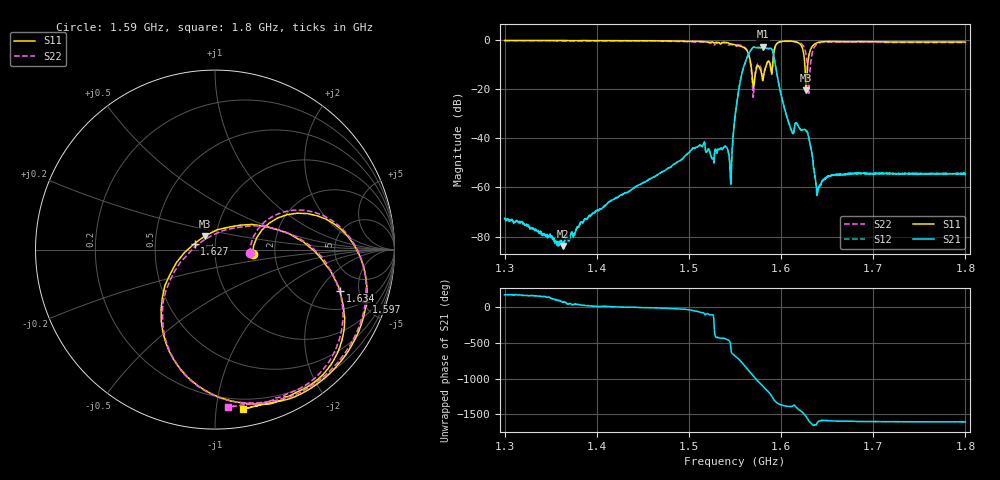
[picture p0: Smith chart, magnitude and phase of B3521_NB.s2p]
! S-Parameter for B3521 in Touchstone format with Magnitude (lin) and Phase
! Normalised impedance: 50 Ohm. Measurement system: 50 Ohm. Ta=25°C
! B3521_SB.S2P not matched. Measurement full 2-port calibrated incl. Port.Ext.
! Start: 1.3GHz, Stop: 1.8GHz, Span 500MHz 801 Pts., Step 312kHz.
! Date: 21/03/07 - EPCOS SAW COM WT AE PD; AB
# MHZ S MA R 50
! freq  magS11 angS11  magS21 angS21  magS12 angS12  magS22 angS22
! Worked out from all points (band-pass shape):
!   1601 points, 1.3 GHz to 1.8 GHz, reference 50 ohm
!   highest |S21| = -2.87 dB at 1.58 GHz (marker M1); lowest = -83.9 dB at 1.363 GHz (marker M2)
!   |S21| within 3 dB of the highest: 1.565 GHz to 1.592 GHz (27.14 MHz wide, 1.72 % of centre)
!   lowest |S11| = -20.5 dB at 1.627 GHz (marker M3), VSWR 1.21, Z = 44.1 + j6.65 ohm
!   |S11| at or under -10 dB: 1.567 GHz to 1.584 GHz (17 MHz wide, 1.08 % of centre); 1.588087 GHz to 1.590837 GHz (2.75 MHz wide, 0.173 % of centre); 1.625764 GHz to 1.628898 GHz (3.135 MHz wide, 0.193 % of centre)
!   |S22| runs from -23.4 to -0.4 dB; largest |S21 - S12| = 0.0021
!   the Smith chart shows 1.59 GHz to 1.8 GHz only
!   S11 on the Smith chart (normalised r, x): 1.59 GHz: 1.53, -0.07; 1.597 GHz: 1.88, -5.34; 1.627 GHz: 0.79, +0.05; 1.634 GHz: 3.18, -3.17; 1.8 GHz: 0.12, -1.18
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1300  0.9677 -74.9  0.000237 170.6  0.0002323 169.6  0.9564 -80.5
1363.438  0.9644 -80.4  6.411e-05 74.6  6.741e-05 68.7  0.953 -86.6
1383.438  0.9637 -82.5  0.0001962 25.5  0.0001985 24.8  0.9503 -88.9
1466.875  0.9496 -96.0  0.001859 -14.4  0.001844 -14.5  0.9332 -104.3
1517.812  0.9066 -120.2  0.00618 -109.0  0.006168 -108.9  0.8892 -132.5
1544.688  0.8265 -178.1  0.00233 -130.5  0.002336 -130.2  0.7956 163.3
1550  0.7929 143.9  0.02742 35.3  0.02734 35.3  0.8011 125.6
1559.688  0.6921 9.3  0.2898 -89.4  0.2895 -89.4  0.7189 9.1
1566.562  0.3727 -79.7  0.5892 168.2  0.5872 168.2  0.3479 -77.0
1571.875  0.1902 -22.1  0.6995 84.8  0.6986 84.7  0.2032 -1.4
1580  0.1478 -34.9  0.7188 -21.9  0.7176 -21.9  0.1806 -33.8
1585.312  0.3543 -13.6  0.6653 -92.1  0.6639 -92.2  0.3486 -13.4
1589.688  0.2107 -6.0  0.659 -162.7  0.6578 -162.7  0.197 -6.2
1597.5  0.8919 -19.0  0.1272 85.9  0.1265 85.6  0.8822 -17.8
1618.125  0.8783 -77.7  0.01845 17.2  0.0183 17.3  0.8879 -74.0
1626.875  0.1186 163.5  0.0143 -87.0  0.01424 -86.9  0.5268 -123.2
1627.188  0.0946 127.8  0.01409 -91.7  0.01404 -91.5  0.4893 -126.5
1633.438  0.7181 -16.7  0.004936 163.9  0.004919 163.9  0.5029 4.8
1633.75  0.7334 -18.3  0.004616 161.4  0.004591 161.3  0.5382 1.8
1640.625  0.888 -39.1  0.0009706 -157.7  0.0009675 -157.9  0.851 -35.2
1716.875  0.9035 -72.4  0.001922 -162.8  0.001911 -162.7  0.8838 -76.9
1800  0.9022 -80.0  0.001898 -165.0  0.001886 -164.6  0.8803 -85.4
